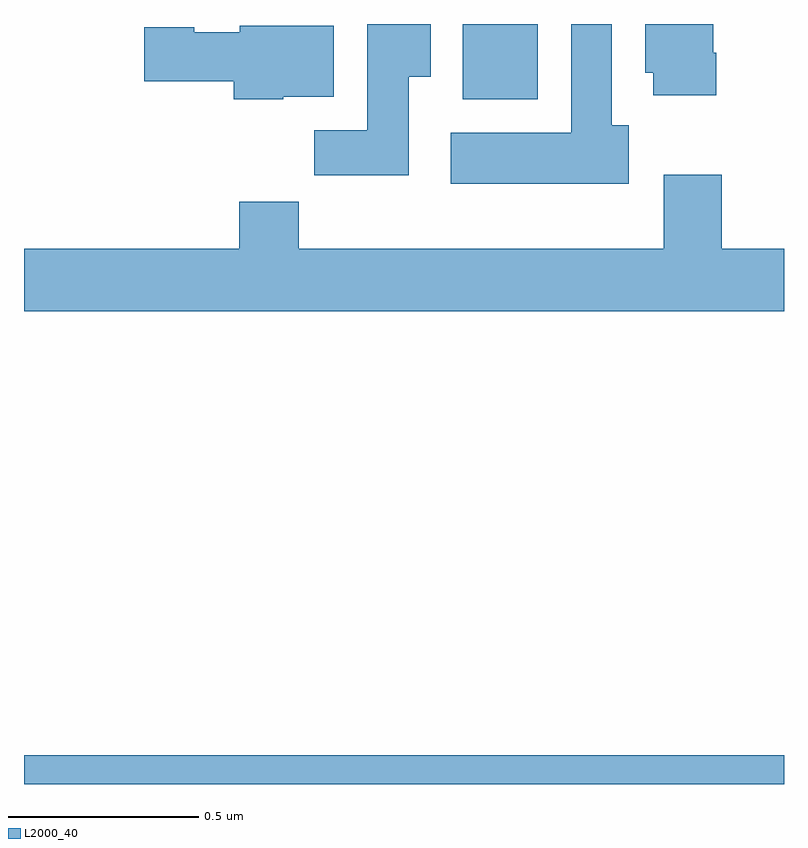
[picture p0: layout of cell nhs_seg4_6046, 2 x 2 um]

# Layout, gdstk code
import gdstk
lib = gdstk.Library(unit=1e-6, precision=1e-09)
def R(c, l, rs):  # rectangles x0, y0, x1, y1
    for r in rs: c.add(gdstk.rectangle(r[:2], r[2:], *l))
def P(c, l, *ps):  # polygons
    for p in ps: c.add(gdstk.Polygon(p, *l))
L2000_40 = (2000, 40)

nhs_seg4_6046 = lib.new_cell('nhs_seg4_6046')
R(nhs_seg4_6046, L2000_40, [(185,804.9,187,804.976), (186.155,806.702,186.352,806.9)])
P(nhs_seg4_6046, L2000_40, [(186.592,806.634),(186.547,806.634),(186.547,806.9),(186.44,806.9),(186.44,806.614),(186.123,806.614),(186.123,806.48),(186.592,806.48)],
  [(186.013,806.761),(186.07,806.761),(186.07,806.9),(185.903,806.9),(185.903,806.62),(185.764,806.62),(185.764,806.502),(186.013,806.502)],
  [(186.822,806.824),(186.814,806.824),(186.814,806.9),(186.635,806.9),(186.635,806.772),(186.656,806.772),(186.656,806.712),(186.822,806.712)],
  [(185.682,806.708),(185.815,806.708),(185.815,806.896),(185.568,806.896),(185.568,806.878),(185.448,806.878),(185.448,806.891),(185.316,806.891),(185.316,806.749),(185.552,806.749),(185.552,806.702),(185.682,806.702)],
  [(187,806.308),(186.836,806.308),(186.836,806.503),(186.683,806.503),(186.683,806.308),(185.723,806.308),(185.723,806.432),(185.567,806.432),(185.567,806.308),(185,806.308),(185,806.144),(187,806.144)])

lib.write_gds('nhs_seg4_6046.gds')
